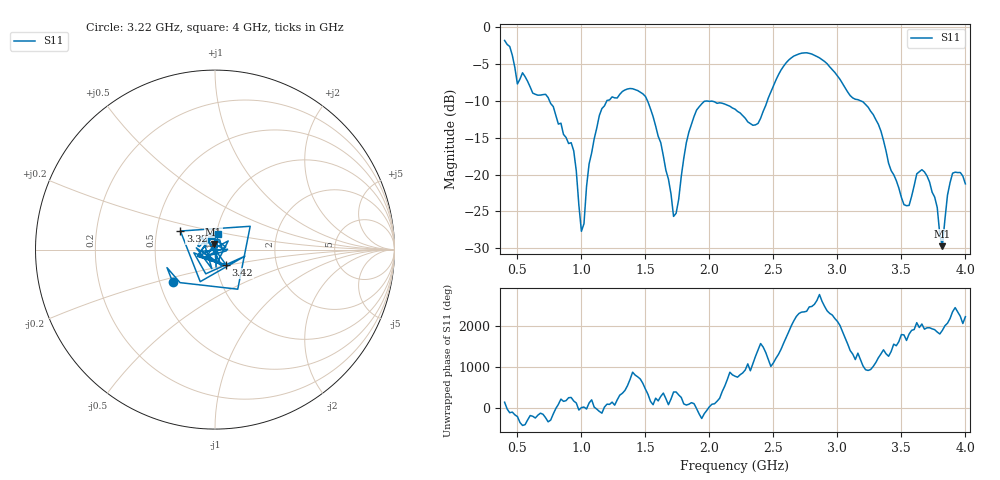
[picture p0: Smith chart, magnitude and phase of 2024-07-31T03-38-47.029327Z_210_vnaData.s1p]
!Created with skrf (http://scikit-rf.org).
# Hz S RI R 50.0
!freq ReS11 ImS11
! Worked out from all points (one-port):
!   181 points, 400 MHz to 4 GHz, reference 50 ohm
!   lowest |S11| = -29.7 dB at 3.82 GHz (marker M1), VSWR 1.07, Z = 49.1 + j3.13 ohm
!   |S11| at or under -10 dB: 750.2 MHz to 1.199 GHz (449.1 MHz wide, 46.1 % of centre); 1.516 GHz to 2.453 GHz (937.5 MHz wide, 47.2 % of centre); 3.178 GHz to end of sweep
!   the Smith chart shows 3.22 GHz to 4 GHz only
!   S11 on the Smith chart (normalised r, x): 3.22 GHz: 0.58, -0.23; 3.32 GHz: 0.66, +0.14; 3.42 GHz: 1.12, -0.19; 4 GHz: 1.01, +0.17
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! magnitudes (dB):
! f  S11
! 400 MHz  -1.9
! 500 MHz  -7.7
! 720 MHz  -9.1
! 860 MHz  -14.6
! 940 MHz  -16.8
! 1 GHz  -27.7
! 1.06 GHz  -18.6
! 1.14 GHz  -12.0
! 1.3 GHz  -9.1
! 1.5 GHz  -9.4
! 1.62 GHz  -15.7
! 1.72 GHz  -25.7
! 1.76 GHz  -23.4
! 1.82 GHz  -15.7
! 1.9 GHz  -11.3
! 2.2 GHz  -11.2
! 2.38 GHz  -13.1
! 2.66 GHz  -4.0
! 3.1 GHz  -9.3
! 3.22 GHz  -10.5
! 3.32 GHz  -13.2
! 3.42 GHz  -19.5
! 3.56 GHz  -24.2
! 3.68 GHz  -19.6
! 3.78 GHz  -24.5
! 3.82 GHz  -29.7
! 3.9 GHz  -19.8
! 4 GHz  -21.3
